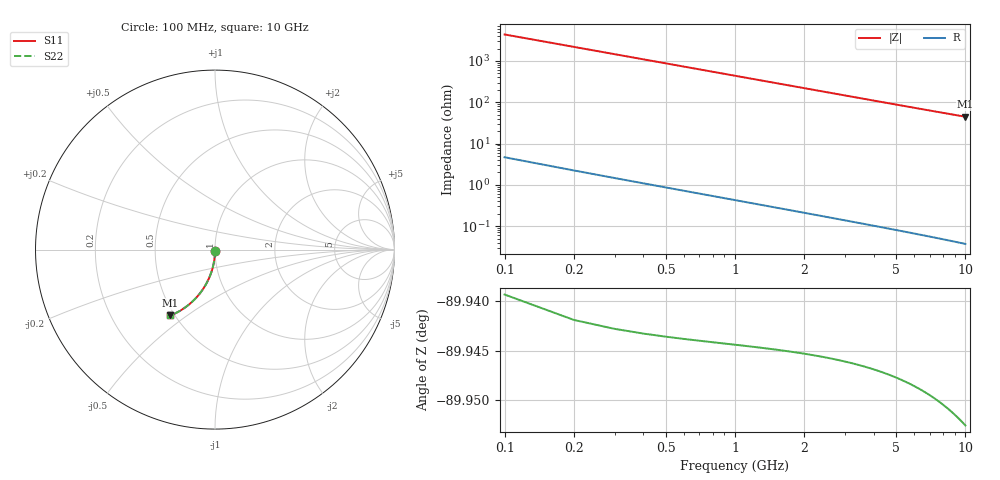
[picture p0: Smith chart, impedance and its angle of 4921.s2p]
# Hz S RI R 50.00
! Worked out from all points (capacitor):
!   100 points, 100 MHz to 10 GHz, reference 50 ohm
!   read as one part in shunt: C = 362 fF near 100 MHz
!   lowest |Z| = 44.7 ohm at 10 GHz (marker M1)
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1e8  0.00023 -0.00503  0.9997 -0.00635  0.9997 -0.00635  0.00023 -0.00503
2e8  0.000131 -0.0101  0.9996 -0.0127  0.9996 -0.0127  0.000131 -0.0101
3e8  -3.32e-05 -0.0151  0.9994 -0.0191  0.9994 -0.0191  -3.32e-05 -0.0151
4e8  -0.000261 -0.0201  0.9992 -0.0254  0.9992 -0.0254  -0.000261 -0.0201
5e8  -0.000553 -0.0251  0.9989 -0.0317  0.9989 -0.0317  -0.000553 -0.0251
6e8  -0.000909 -0.0301  0.9985 -0.0381  0.9985 -0.0381  -0.000909 -0.0301
7e8  -0.00133 -0.0351  0.9981 -0.0444  0.9981 -0.0444  -0.00133 -0.0351
8e8  -0.00181 -0.0401  0.9976 -0.0507  0.9976 -0.0507  -0.00181 -0.0401
9e8  -0.00236 -0.0451  0.997 -0.0571  0.997 -0.0571  -0.00236 -0.0451
1.1e9  -0.00364 -0.0551  0.9957 -0.0697  0.9957 -0.0697  -0.00364 -0.0551
1.4e9  -0.00603 -0.0699  0.9932 -0.0885  0.9932 -0.0885  -0.00603 -0.0699
1.8e9  -0.0101 -0.0896  0.9891 -0.1134  0.9891 -0.1134  -0.0101 -0.0896
2.1e9  -0.0138 -0.1041  0.9853 -0.1319  0.9853 -0.1319  -0.0138 -0.1041
2.5e9  -0.0195 -0.1231  0.9794 -0.1563  0.9794 -0.1563  -0.0195 -0.1231
2.9e9  -0.0262 -0.1418  0.9725 -0.1803  0.9725 -0.1803  -0.0262 -0.1418
3.4e9  -0.0357 -0.1645  0.9627 -0.2096  0.9627 -0.2096  -0.0357 -0.1645
4.2e9  -0.0537 -0.1991  0.9441 -0.255  0.9441 -0.255  -0.0537 -0.1991
5.1e9  -0.0775 -0.2352  0.9196 -0.3031  0.9196 -0.3031  -0.0775 -0.2352
5.9e9  -0.1014 -0.2644  0.8949 -0.3431  0.8949 -0.3431  -0.1014 -0.2644
6.7e9  -0.1274 -0.2908  0.868 -0.3802  0.868 -0.3802  -0.1274 -0.2908
8.4e9  -0.1878 -0.3365  0.8052 -0.4492  0.8052 -0.4492  -0.1878 -0.3365
1e10  -0.2483 -0.3669  0.742 -0.5016  0.742 -0.5016  -0.2483 -0.3669
